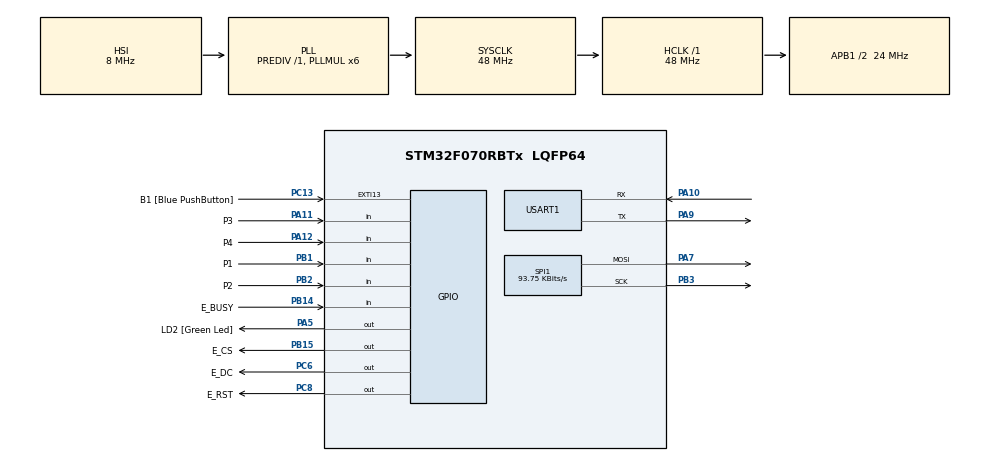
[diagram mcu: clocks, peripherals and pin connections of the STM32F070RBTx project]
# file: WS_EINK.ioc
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Mcu.Family=STM32F0
Mcu.Name=STM32F070RBTx
Mcu.Package=LQFP64
PA10.Mode=Asynchronous
PA10.Signal=USART1_RX
PA11.GPIO_Label=P3
PA11.GPIO_PuPd=GPIO_PULLUP
PA11.Signal=GPIO_Input
PA12.GPIO_Label=P4
PA12.GPIO_PuPd=GPIO_PULLUP
PA12.Signal=GPIO_Input
PA13.GPIO_Label=TMS
PA13.Signal=SYS_SWDIO
PA2.GPIO_Label=USART_TX
PA2.Signal=USART2_TX
PA3.GPIO_Label=USART_RX
PA3.Signal=USART2_RX
PA5.GPIO_Label=LD2 [Green Led]
PA5.Signal=GPIO_Output
PA7.Mode=TX_Only_Simplex_Unidirect_Master
PA7.Signal=SPI1_MOSI
PA9.Mode=Asynchronous
PA9.Signal=USART1_TX
PB1.GPIO_Label=P1
PB1.GPIO_PuPd=GPIO_PULLUP
PB1.Signal=GPIO_Input
PB14.GPIO_Label=E_BUSY
PB14.Signal=GPIO_Input
PB15.GPIO_Label=E_CS
PB15.GPIO_Speed=GPIO_SPEED_FREQ_HIGH
PB15.PinState=GPIO_PIN_SET
PB15.Signal=GPIO_Output
PB2.GPIO_Label=P2
PB2.GPIO_PuPd=GPIO_PULLUP
PB2.Signal=GPIO_Input
PB3.Mode=TX_Only_Simplex_Unidirect_Master
PB3.Signal=SPI1_SCK
PC13.GPIO_Label=B1 [Blue PushButton]
PC13.GPIO_ModeDefaultEXTI=GPIO_MODE_IT_FALLING
PC13.Signal=GPXTI13
PC14-OSC32_IN.GPIO_Label=RCC_OSC32_IN
PC14-OSC32_IN.Signal=RCC_OSC32_IN
PC15-OSC32_OUT.GPIO_Label=RCC_OSC32_OUT
PC15-OSC32_OUT.Signal=RCC_OSC32_OUT
PC6.GPIO_Label=E_DC
PC6.Signal=GPIO_Output
PC8.GPIO_Label=E_RST
PC8.GPIO_Speed=GPIO_SPEED_FREQ_HIGH
PC8.PinState=GPIO_PIN_SET
PC8.Signal=GPIO_Output
PF0-OSC_IN.GPIO_Label=RCC_OSC_IN
PF0-OSC_IN.Signal=RCC_OSC_IN
PF1-OSC_OUT.GPIO_Label=RCC_OSC_OUT
PF1-OSC_OUT.Signal=RCC_OSC_OUT
ProjectManager.HeapSize=0x2000
ProjectManager.StackSize=0x400
ProjectManager.TargetToolchain=MDK-ARM V5
RCC.AHBFreq_Value=48000000
RCC.APB1CLKDivider=RCC_HCLK_DIV2
RCC.APB1Freq_Value=24000000
RCC.APB1TimFreq_Value=48000000
RCC.HCLKFreq_Value=48000000
RCC.PLLMUL=RCC_PLL_MUL6
RCC.SYSCLKFreq_VALUE=48000000
RCC.SYSCLKSource=RCC_SYSCLKSOURCE_PLLCLK
SPI1.BaudRatePrescaler=SPI_BAUDRATEPRESCALER_256
SPI1.CalculateBaudRate=93.75 KBits/s
SPI1.DataSize=SPI_DATASIZE_8BIT
SPI1.Direction=SPI_DIRECTION_2LINES
SPI1.Mode=SPI_MODE_MASTER
SPI1.NSSPMode=SPI_NSS_PULSE_DISABLE
SPI1.VirtualType=VM_MASTER
USART1.VirtualMode-Asynchronous=VM_ASYNC
board=NUCLEO-F070RB

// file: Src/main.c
/**
  ******************************************************************************
  * @file           : main.c
  * @brief          : Main program body
  ******************************************************************************
  ** This notice applies to any and all portions of this file
  * that are not between comment pairs USER CODE BEGIN and
  * USER CODE END. Other portions of this file, whether
  * inserted by the user or by software development tools
  * are owned by their respective copyright owners.
  *
  * COPYRIGHT(c) 2018 STMicroelectronics
  *
  * Redistribution and use in source and binary forms, with or without modification,
  * are permitted provided that the following conditions are met:
  *   1. Redistributions of source code must retain the above copyright notice,
  *      this list of conditions and the following disclaimer.
  *   2. Redistributions in binary form must reproduce the above copyright notice,
  *      this list of conditions and the following disclaimer in the documentation
  *      and/or other materials provided with the distribution.
  *   3. Neither the name of STMicroelectronics nor the names of its contributors
  *      may be used to endorse or promote products derived from this software
  *      without specific prior written permission.
  *
  * THIS SOFTWARE IS PROVIDED BY THE COPYRIGHT HOLDERS AND CONTRIBUTORS "AS IS"
  * AND ANY EXPRESS OR IMPLIED WARRANTIES, INCLUDING, BUT NOT LIMITED TO, THE
  * IMPLIED WARRANTIES OF MERCHANTABILITY AND FITNESS FOR A PARTICULAR PURPOSE ARE
  * DISCLAIMED. IN NO EVENT SHALL THE COPYRIGHT HOLDER OR CONTRIBUTORS BE LIABLE
  * FOR ANY DIRECT, INDIRECT, INCIDENTAL, SPECIAL, EXEMPLARY, OR CONSEQUENTIAL
  * DAMAGES (INCLUDING, BUT NOT LIMITED TO, PROCUREMENT OF SUBSTITUTE GOODS OR
  * SERVICES; LOSS OF USE, DATA, OR PROFITS; OR BUSINESS INTERRUPTION) HOWEVER
  * CAUSED AND ON ANY THEORY OF LIABILITY, WHETHER IN CONTRACT, STRICT LIABILITY,
  * OR TORT (INCLUDING NEGLIGENCE OR OTHERWISE) ARISING IN ANY WAY OUT OF THE USE
  * OF THIS SOFTWARE, EVEN IF ADVISED OF THE POSSIBILITY OF SUCH DAMAGE.
  *
  ******************************************************************************
  */
#include "main.h"
#include "stm32f0xx_hal.h"

/* USER CODE BEGIN Includes */
#include "epd2in7.h"
#include "epdif.h"
#include "epdpaint.h"
#include "imagedata.h"
#include <stdlib.h>
/* USER CODE END Includes */

SPI_HandleTypeDef hspi1;

UART_HandleTypeDef huart1;

/* USER CODE BEGIN PV */
/* Private variables ---------------------------------------------------------*/
#define COLORED      0
#define UNCOLORED    1
EPD epd;
/* USER CODE END PV */

void SystemClock_Config(void);
static void MX_GPIO_Init(void);
static void MX_SPI1_Init(void);
static void MX_USART1_UART_Init(void);

/* USER CODE BEGIN PFP */
/* Private function prototypes -----------------------------------------------*/

/* USER CODE END PFP */

int main(void)
{
  /* USER CODE BEGIN 1 */
 /* you have to edit the startup_stm32fxxx.s file and set a big enough heap size */
  unsigned char* frame_buffer = (unsigned char*)malloc(EPD_WIDTH * EPD_HEIGHT / 8);
  /* USER CODE END 1 */

  /* MCU Configuration----------------------------------------------------------*/

  /* Reset of all peripherals, Initializes the Flash interface and the Systick. */
  HAL_Init();

  /* Configure the system clock */
  SystemClock_Config();

  /* Initialize all configured peripherals */
  MX_GPIO_Init();
  MX_SPI1_Init();
  MX_USART1_UART_Init();
  /* USER CODE BEGIN 2 */
  if (EPD_Init(&epd) != 0) {
    printf("e-Paper init failed\n");
    return -1;
  }

  Paint paint;
  Paint_Init(&paint, frame_buffer, epd.width, epd.height);
  Paint_Clear(&paint, UNCOLORED);

  /* Draw something to the frame buffer */
  /* For simplicity, the arguments are explicit numerical coordinates */
  Paint_SetRotate(&paint, ROTATE_0);
  Paint_DrawStringAt(&paint, 4, 50, "e-Paper Demo", &Font20, COLORED);
  Paint_DrawRectangle(&paint, 10, 130, 50, 180, COLORED);
  Paint_DrawLine(&paint, 10, 130, 50, 180, COLORED);
  Paint_DrawLine(&paint, 50, 130, 10, 180, COLORED);
  Paint_DrawCircle(&paint, 120, 150, 30, COLORED);
  Paint_DrawFilledRectangle(&paint, 10, 200, 50, 250, COLORED);
  Paint_DrawFilledRectangle(&paint, 0, 76, 176, 96, COLORED);
  Paint_DrawFilledCircle(&paint, 120, 220, 30, COLORED);
  Paint_DrawStringAt(&paint, 18, 80, "Hello world!", &Font16, UNCOLORED);

  /* Display the frame_buffer */
  EPD_DisplayFrame(&epd, frame_buffer);

  /* Display the image buffer */
  EPD_DisplayFrame(&epd, IMAGE_DATA);

  /* USER CODE END 2 */

  /* Infinite loop */
  while (1)
  {
      if ( HAL_GPIO_ReadPin(P1_GPIO_Port, P1_Pin ) == GPIO_PIN_RESET ) {
         EPD_DisplayFrame(&epd, gImage_business_card);
      } else
      if ( HAL_GPIO_ReadPin(P2_GPIO_Port, P2_Pin ) == GPIO_PIN_RESET ) {
         EPD_DisplayFrame(&epd, gImage_wechat );
      } else
      if ( HAL_GPIO_ReadPin(P3_GPIO_Port, P3_Pin ) == GPIO_PIN_RESET ) {
        EPD_DisplayFrame(&epd, gImage_line );
      } else
      if ( HAL_GPIO_ReadPin(P4_GPIO_Port, P4_Pin ) == GPIO_PIN_RESET ) {
        EPD_DisplayFrame(&epd, frame_buffer);
        EPD_DisplayFrame(&epd, IMAGE_DATA);

      }

  }

}

void SystemClock_Config(void)
{

  RCC_OscInitTypeDef RCC_OscInitStruct;
  RCC_ClkInitTypeDef RCC_ClkInitStruct;
  RCC_PeriphCLKInitTypeDef PeriphClkInit;

    /**Initializes the CPU, AHB and APB busses clocks
    */
  RCC_OscInitStruct.OscillatorType = RCC_OSCILLATORTYPE_HSI;
  RCC_OscInitStruct.HSIState = RCC_HSI_ON;
  RCC_OscInitStruct.HSICalibrationValue = 16;
  RCC_OscInitStruct.PLL.PLLState = RCC_PLL_ON;
  RCC_OscInitStruct.PLL.PLLSource = RCC_PLLSOURCE_HSI;
  RCC_OscInitStruct.PLL.PLLMUL = RCC_PLL_MUL6;
  RCC_OscInitStruct.PLL.PREDIV = RCC_PREDIV_DIV1;
  if (HAL_RCC_OscConfig(&RCC_OscInitStruct) != HAL_OK)
  {
    _Error_Handler(__FILE__, __LINE__);
  }

    /**Initializes the CPU, AHB and APB busses clocks
    */
  RCC_ClkInitStruct.ClockType = RCC_CLOCKTYPE_HCLK|RCC_CLOCKTYPE_SYSCLK
                              |RCC_CLOCKTYPE_PCLK1;
  RCC_ClkInitStruct.SYSCLKSource = RCC_SYSCLKSOURCE_PLLCLK;
  RCC_ClkInitStruct.AHBCLKDivider = RCC_SYSCLK_DIV1;
  RCC_ClkInitStruct.APB1CLKDivider = RCC_HCLK_DIV2;

  if (HAL_RCC_ClockConfig(&RCC_ClkInitStruct, FLASH_LATENCY_1) != HAL_OK)
  {
    _Error_Handler(__FILE__, __LINE__);
  }

  PeriphClkInit.PeriphClockSelection = RCC_PERIPHCLK_USART1;
  PeriphClkInit.Usart1ClockSelection = RCC_USART1CLKSOURCE_PCLK1;
  if (HAL_RCCEx_PeriphCLKConfig(&PeriphClkInit) != HAL_OK)
  {
    _Error_Handler(__FILE__, __LINE__);
  }

    /**Configure the Systick interrupt time
    */
  HAL_SYSTICK_Config(HAL_RCC_GetHCLKFreq()/1000);

    /**Configure the Systick
    */
  HAL_SYSTICK_CLKSourceConfig(SYSTICK_CLKSOURCE_HCLK);

  /* SysTick_IRQn interrupt configuration */
  HAL_NVIC_SetPriority(SysTick_IRQn, 0, 0);
}

/* SPI1 init function */
static void MX_SPI1_Init(void)
{

  /* SPI1 parameter configuration*/
  hspi1.Instance = SPI1;
  hspi1.Init.Mode = SPI_MODE_MASTER;
  hspi1.Init.Direction = SPI_DIRECTION_2LINES;
  hspi1.Init.DataSize = SPI_DATASIZE_8BIT;
  hspi1.Init.CLKPolarity = SPI_POLARITY_LOW;
  hspi1.Init.CLKPhase = SPI_PHASE_1EDGE;
  hspi1.Init.NSS = SPI_NSS_SOFT;
  hspi1.Init.BaudRatePrescaler = SPI_BAUDRATEPRESCALER_256;
  hspi1.Init.FirstBit = SPI_FIRSTBIT_MSB;
  hspi1.Init.TIMode = SPI_TIMODE_DISABLE;
  hspi1.Init.CRCCalculation = SPI_CRCCALCULATION_DISABLE;
  hspi1.Init.CRCPolynomial = 7;
  hspi1.Init.CRCLength = SPI_CRC_LENGTH_DATASIZE;
  hspi1.Init.NSSPMode = SPI_NSS_PULSE_DISABLE;
  if (HAL_SPI_Init(&hspi1) != HAL_OK)
  {
    _Error_Handler(__FILE__, __LINE__);
  }

}

/* USART1 init function */
static void MX_USART1_UART_Init(void)
{

  huart1.Instance = USART1;
  huart1.Init.BaudRate = 38400;
  huart1.Init.WordLength = UART_WORDLENGTH_8B;
  huart1.Init.StopBits = UART_STOPBITS_1;
  huart1.Init.Parity = UART_PARITY_NONE;
  huart1.Init.Mode = UART_MODE_TX_RX;
  huart1.Init.HwFlowCtl = UART_HWCONTROL_NONE;
  huart1.Init.OverSampling = UART_OVERSAMPLING_16;
  huart1.Init.OneBitSampling = UART_ONE_BIT_SAMPLE_DISABLE;
  huart1.AdvancedInit.AdvFeatureInit = UART_ADVFEATURE_NO_INIT;
  if (HAL_UART_Init(&huart1) != HAL_OK)
  {
    _Error_Handler(__FILE__, __LINE__);
  }

}

/** Configure pins as
        * Analog
        * Input
        * Output
        * EVENT_OUT
        * EXTI
     PA2   ------> USART2_TX
     PA3   ------> USART2_RX
*/
static void MX_GPIO_Init(void)
{

  GPIO_InitTypeDef GPIO_InitStruct;

  /* GPIO Ports Clock Enable */
  __HAL_RCC_GPIOC_CLK_ENABLE();
  __HAL_RCC_GPIOF_CLK_ENABLE();
  __HAL_RCC_GPIOA_CLK_ENABLE();
  __HAL_RCC_GPIOB_CLK_ENABLE();

  /*Configure GPIO pin Output Level */
  HAL_GPIO_WritePin(LD2_GPIO_Port, LD2_Pin, GPIO_PIN_RESET);

  /*Configure GPIO pin Output Level */
  HAL_GPIO_WritePin(E_CS_GPIO_Port, E_CS_Pin, GPIO_PIN_SET);

  /*Configure GPIO pin Output Level */
  HAL_GPIO_WritePin(E_DC_GPIO_Port, E_DC_Pin, GPIO_PIN_RESET);

  /*Configure GPIO pin Output Level */
  HAL_GPIO_WritePin(E_RST_GPIO_Port, E_RST_Pin, GPIO_PIN_SET);

  /*Configure GPIO pin : B1_Pin */
  GPIO_InitStruct.Pin = B1_Pin;
  GPIO_InitStruct.Mode = GPIO_MODE_IT_FALLING;
  GPIO_InitStruct.Pull = GPIO_NOPULL;
  HAL_GPIO_Init(B1_GPIO_Port, &GPIO_InitStruct);

  /*Configure GPIO pins : USART_TX_Pin USART_RX_Pin */
  GPIO_InitStruct.Pin = USART_TX_Pin|USART_RX_Pin;
  GPIO_InitStruct.Mode = GPIO_MODE_AF_PP;
  GPIO_InitStruct.Pull = GPIO_NOPULL;
  GPIO_InitStruct.Speed = GPIO_SPEED_FREQ_HIGH;
  GPIO_InitStruct.Alternate = GPIO_AF1_USART2;
  HAL_GPIO_Init(GPIOA, &GPIO_InitStruct);

  /*Configure GPIO pin : LD2_Pin */
  GPIO_InitStruct.Pin = LD2_Pin;
  GPIO_InitStruct.Mode = GPIO_MODE_OUTPUT_PP;
  GPIO_InitStruct.Pull = GPIO_NOPULL;
  GPIO_InitStruct.Speed = GPIO_SPEED_FREQ_LOW;
  HAL_GPIO_Init(LD2_GPIO_Port, &GPIO_InitStruct);

  /*Configure GPIO pins : P1_Pin P2_Pin */
  GPIO_InitStruct.Pin = P1_Pin|P2_Pin;
  GPIO_InitStruct.Mode = GPIO_MODE_INPUT;
  GPIO_InitStruct.Pull = GPIO_PULLUP;
  HAL_GPIO_Init(GPIOB, &GPIO_InitStruct);

  /*Configure GPIO pin : E_BUSY_Pin */
  GPIO_InitStruct.Pin = E_BUSY_Pin;
  GPIO_InitStruct.Mode = GPIO_MODE_INPUT;
  GPIO_InitStruct.Pull = GPIO_NOPULL;
  HAL_GPIO_Init(E_BUSY_GPIO_Port, &GPIO_InitStruct);

  /*Configure GPIO pin : E_CS_Pin */
  GPIO_InitStruct.Pin = E_CS_Pin;
  GPIO_InitStruct.Mode = GPIO_MODE_OUTPUT_PP;
  GPIO_InitStruct.Pull = GPIO_NOPULL;
  GPIO_InitStruct.Speed = GPIO_SPEED_FREQ_HIGH;
  HAL_GPIO_Init(E_CS_GPIO_Port, &GPIO_InitStruct);

  /*Configure GPIO pin : E_DC_Pin */
  GPIO_InitStruct.Pin = E_DC_Pin;
  GPIO_InitStruct.Mode = GPIO_MODE_OUTPUT_PP;
  GPIO_InitStruct.Pull = GPIO_NOPULL;
  GPIO_InitStruct.Speed = GPIO_SPEED_FREQ_LOW;
  HAL_GPIO_Init(E_DC_GPIO_Port, &GPIO_InitStruct);

  /*Configure GPIO pin : E_RST_Pin */
  GPIO_InitStruct.Pin = E_RST_Pin;
  GPIO_InitStruct.Mode = GPIO_MODE_OUTPUT_PP;
  GPIO_InitStruct.Pull = GPIO_NOPULL;
  GPIO_InitStruct.Speed = GPIO_SPEED_FREQ_HIGH;
  HAL_GPIO_Init(E_RST_GPIO_Port, &GPIO_InitStruct);

  /*Configure GPIO pins : P3_Pin P4_Pin */
  GPIO_InitStruct.Pin = P3_Pin|P4_Pin;
  GPIO_InitStruct.Mode = GPIO_MODE_INPUT;
  GPIO_InitStruct.Pull = GPIO_PULLUP;
  HAL_GPIO_Init(GPIOA, &GPIO_InitStruct);

}

/* USER CODE BEGIN 4 */
#ifdef __GNUC__
  /* With GCC/RAISONANCE, small printf (option LD Linker->Libraries->Small printf
     set to 'Yes') calls __io_putchar() */
  #define PUTCHAR_PROTOTYPE int __io_putchar(int ch)
#else
  #define PUTCHAR_PROTOTYPE int fputc(int ch, FILE *f)
#endif /* __GNUC__ */
/**
  * @brief  Retargets the C library printf function to the USART.
  * @param  None
  * @retval None
  */
PUTCHAR_PROTOTYPE
{
  /* Place your implementation of fputc here */
  /* e.g. write a character to the EVAL_COM1 and Loop until the end of transmission */
  HAL_UART_Transmit(&huart1, (uint8_t *)&ch, 1, 0xFFFF);

  return ch;
}
/* USER CODE END 4 */

void _Error_Handler(char *file, int line)
{
  while(1)
  {
  }
}

/************************ (C) COPYRIGHT STMicroelectronics *****END OF FILE****/
